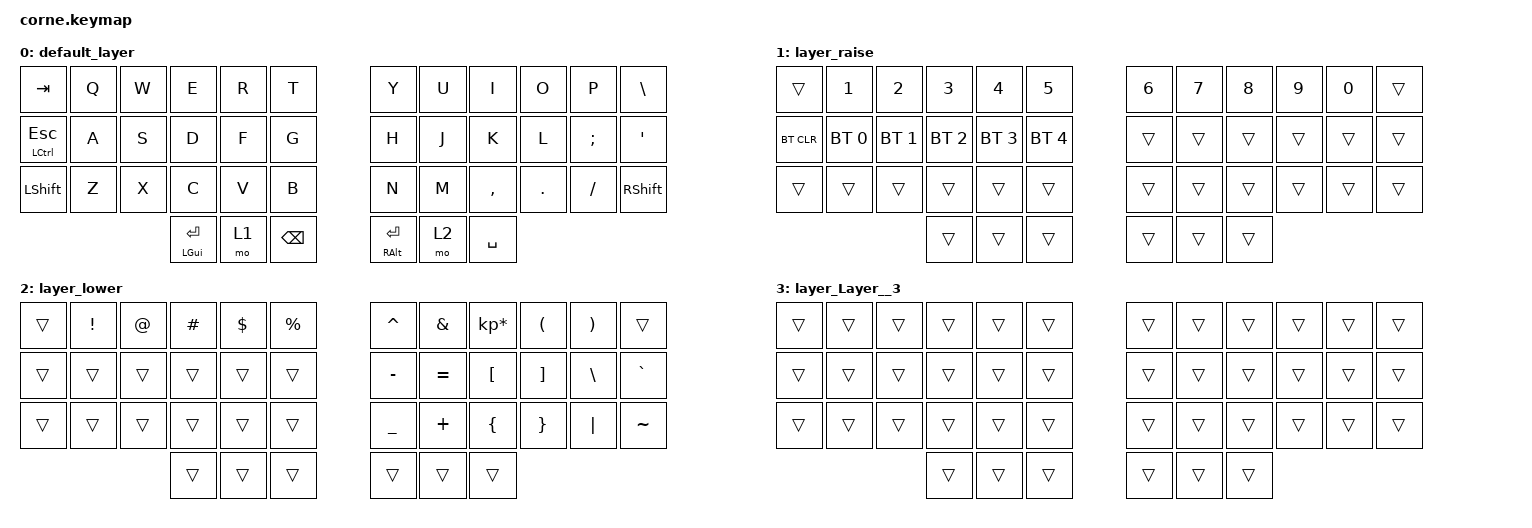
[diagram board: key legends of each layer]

/*
 * Copyright (c) 2020 The ZMK Contributors
 *
 * SPDX-License-Identifier: MIT
 */


/* THIS FILE WAS GENERATED!
 *
 * This file was generated automatically. You may or may not want to
 * edit it directly.
 */

#include <behaviors.dtsi>
#include <dt-bindings/zmk/keys.h>

#include <dt-bindings/zmk/bt.h>

/ {
    keymap {
        compatible = "zmk,keymap";


        default_layer {
            bindings = <
       &kp TAB   &kp Q   &kp W               &kp E   &kp R          &kp T                     &kp Y   &kp U      &kp I    &kp O     &kp P    &kp BSLH
 &mt LCTRL ESC   &kp A   &kp S               &kp D   &kp F          &kp G                     &kp H   &kp J      &kp K    &kp L  &kp SEMI    &kp APOS
     &kp LSHFT   &kp Z   &kp X               &kp C   &kp V          &kp B                     &kp N   &kp M  &kp COMMA  &kp DOT  &kp FSLH  &kp RSHIFT
                                &mt LEFT_GUI ENTER   &mo 1  &kp BACKSPACE            &mt RALT ENTER   &mo 2  &kp SPACE
            >;
        };

        layer_raise {
            bindings = <
     &trans        &kp N1        &kp N2        &kp N3        &kp N4        &kp N5            &kp N6  &kp N7  &kp N8  &kp N9  &kp N0  &trans
 &bt BT_CLR  &bt BT_SEL 0  &bt BT_SEL 1  &bt BT_SEL 2  &bt BT_SEL 3  &bt BT_SEL 4            &trans  &trans  &trans  &trans  &trans  &trans
     &trans        &trans        &trans        &trans        &trans        &trans            &trans  &trans  &trans  &trans  &trans  &trans
                                               &trans        &trans        &trans            &trans  &trans  &trans
            >;
        };

        layer_lower {
            bindings = <
 &trans  &kp EXCL  &kp AT  &kp HASH  &kp DLLR  &kp PRCNT            &kp CARET   &kp AMPS  &kp KP_MULTIPLY  &kp LPAR  &kp RPAR     &trans
 &trans    &trans  &trans    &trans    &trans     &trans            &kp MINUS  &kp EQUAL         &kp LBKT  &kp RBKT  &kp BSLH  &kp GRAVE
 &trans    &trans  &trans    &trans    &trans     &trans            &kp UNDER   &kp PLUS         &kp LBRC  &kp RBRC  &kp PIPE  &kp TILDE
                             &trans    &trans     &trans               &trans     &trans           &trans
            >;
        };

        layer_Layer__3 {
            bindings = <
 &trans  &trans  &trans  &trans  &trans  &trans            &trans  &trans  &trans  &trans  &trans  &trans
 &trans  &trans  &trans  &trans  &trans  &trans            &trans  &trans  &trans  &trans  &trans  &trans
 &trans  &trans  &trans  &trans  &trans  &trans            &trans  &trans  &trans  &trans  &trans  &trans
                         &trans  &trans  &trans            &trans  &trans  &trans
            >;
        };

    };
};
